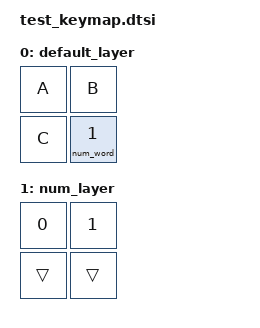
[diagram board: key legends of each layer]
#include <dt-bindings/zmk/keys.h>
#include <behaviors.dtsi>
#include <behaviors/japanese_input.dtsi>
#include <dt-bindings/zmk/kscan_mock.h>

/ {
    keymap {
        compatible = "zmk,keymap";
        default_layer {
            bindings = <
                &kp A &kp B
                &kp C &num_word 1
            >;
        };

        num_layer {
            bindings = <
                &kp N0 &kp N1
                &trans &trans
            >;
        };
    };
};
